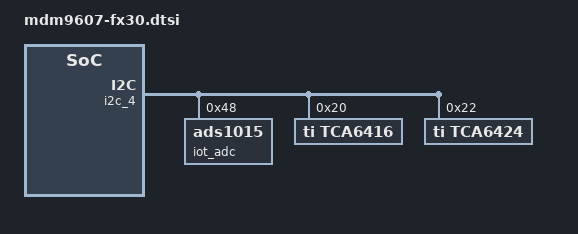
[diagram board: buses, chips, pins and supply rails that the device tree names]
/*
 * mdm9607-fx30.dtsi
 *
 *  Additional dts configuration for the FX30
 *
 * Copyright (c) 2016 - 2019 Sierra Wireless, Inc.
 *
 *  This program is free software; you can redistribute  it and/or modify it
 *  under  the terms of  the GNU General  Public License as published by the
 *  Free Software Foundation;  either version 2 of the  License, or (at your
 *  option) any later version.
 *
 */

&i2c_4 {
	iot_adc@48 {
		compatible = "ads1015";
		reg = <0x48>;
	};

	tca6416: gpio@20 {
		compatible = "ti,tca6416";
		reg = <0x20>;
		gpio-controller;
		#gpio-cells = <2>;
	};

	tca6424: gpio@22 {
		compatible = "ti,tca6424";
		reg = <0x22>;
		gpio-controller;
		#gpio-cells = <2>;
	};
};

// FX30 GPIO pins which are not defined in WP76 baseline or must be
// overridden.
&sierra_gpio {

	// This is GPIO extension for WP77 based FX30.
	// DM, FIXME: For now, assume that device is not defined
	// anywhere in device tree. We have to fix this later.
	// This assumes that we need to know GPIO base address,
	// instead of using pinctrl.
	alias-43_FX30S = <988 0>;
	alias-44_FX30S = <989 0>;
	alias-45_FX30S = <990 0>;
	alias-46_FX30S = <991 0>;
	alias-47_FX30S = <992 0>;
	alias-48_FX30S = <993 0>;
	alias-49_FX30S = <994 0>;
	alias-50_FX30S = <995 0>;
	alias-51_FX30S = <996 0>;
	alias-52_FX30S = <997 0>;
	alias-53_FX30S = <998 0>;
	alias-54_FX30S = <999 0>;
	alias-55_FX30S = <1000 0>;
	alias-56_FX30S = <1001 0>;
	alias-57_FX30S = <1002 0>;
	alias-58_FX30S = <1003 0>;
	alias-59_FX30S = <1004 0>;
	alias-60_FX30S = <1005 0>;
	alias-61_FX30S = <1006 0>;
	alias-62_FX30S = <1007 0>;
	alias-63_FX30S = <1008 0>;
	alias-64_FX30S = <1009 0>;
	alias-65_FX30S = <1010 0>;
	alias-66_FX30S = <1011 0>;

	// DM, FIXME: For now, assume that device is not defined
	// anywhere in device tree. We have to fix this later.
	// This assumes that we need to know GPIO base address,
	// instead of using pinctrl.
	alias-43 = <996 0>;
	alias-44 = <997 0>;
	alias-45 = <998 0>;
	alias-46 = <999 0>;
	alias-47 = <1000 0>;
	alias-48 = <1001 0>;
	alias-49 = <1002 0>;
	alias-50 = <1003 0>;
	alias-51 = <1004 0>;
	alias-52 = <1005 0>;
	alias-53 = <1006 0>;
	alias-54 = <1007 0>;
	alias-55 = <1008 0>;
	alias-56 = <1009 0>;
	alias-57 = <1010 0>;
	alias-58 = <1011 0>;
};
